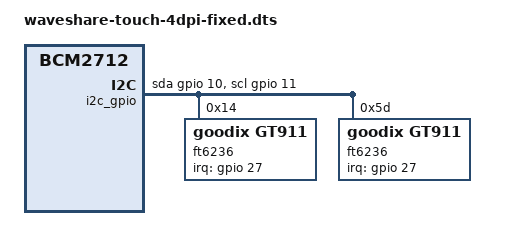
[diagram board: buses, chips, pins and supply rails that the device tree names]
/dts-v1/;
/plugin/;

/ {
	compatible = "brcm,bcm2708", "brcm,bcm2711", "brcm,bcm2712";

	fragment@0 {
		target = <&fb>;
		__overlay__ {
			pinctrl-names = "default";
			pinctrl-0 = <&dpi18_pins>;
		};
	};

	fragment@1 {
		target = <&gpio>;
		__overlay__ {
			dpi18_pins: dpi18_pins {
				brcm,pins = <0 1 2 3 4 5 6 7 8 9 12 13 14 15 16 17 20 21 22 23 24 25>;
				brcm,function = <6>;
				brcm,pull = <0>;
			};
		};
	};

	fragment@3 {
		target-path = "/";
		__overlay__ {
			i2c_gpio: i2c@0 {
				compatible = "i2c-gpio";
				gpios = <&gpio 10 0 &gpio 11 0>;
				i2c-gpio,delay-us = <4>;
				#address-cells = <1>;
				#size-cells = <0>;
			};
		};
	};

	fragment@5 {
		target = <&i2c_gpio>;
		__overlay__ {
			#address-cells = <1>;
			#size-cells = <0>;

			ft6236@14 {
				compatible = "goodix,gt911";
				reg = <0x14>;
				interrupt-parent = <&gpio>;
				interrupts = <27 2>;
				irq-gpios = <&gpio 27 2>;
				touchscreen-size-x = <720>;
				touchscreen-size-y = <720>;
				touchscreen-x-mm = <72>;
				touchscreen-y-mm = <72>;
			};

			ft6236@5d {
				compatible = "goodix,gt911";
				reg = <0x5d>;
				interrupt-parent = <&gpio>;
				interrupts = <27 2>;
				irq-gpios = <&gpio 27 2>;
				touchscreen-size-x = <720>;
				touchscreen-size-y = <720>;
				touchscreen-x-mm = <72>;
				touchscreen-y-mm = <72>;
			};
		};
	};
};
